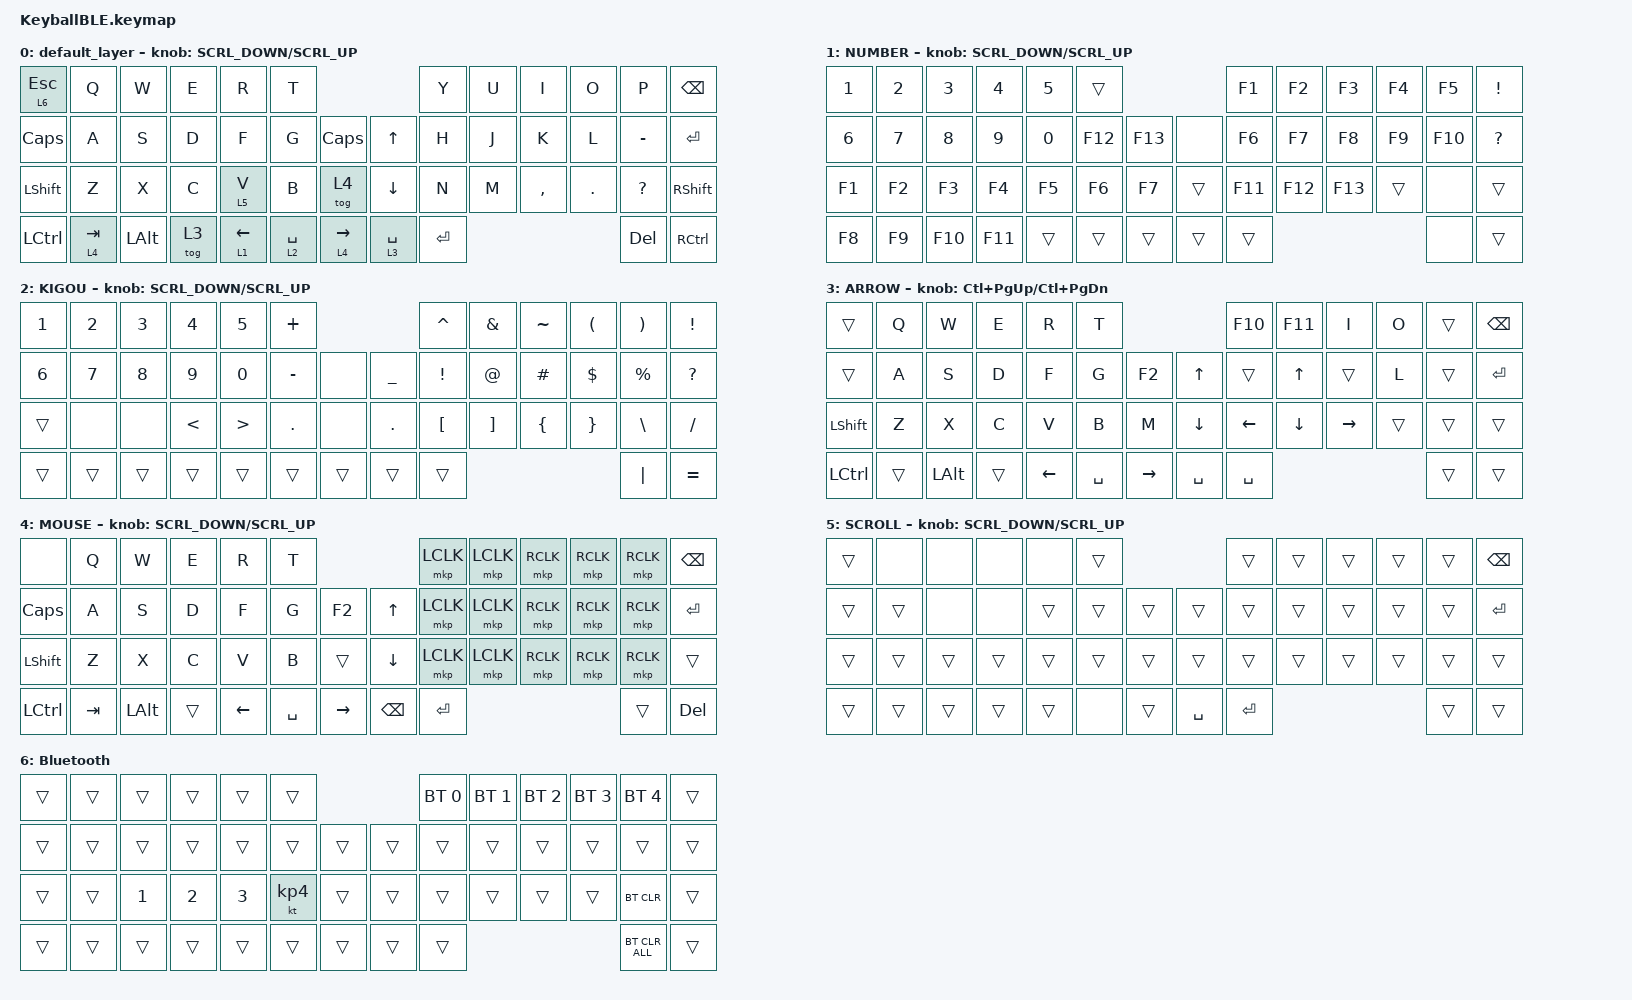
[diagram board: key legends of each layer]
#define ZMK_POINTING_DEFAULT_SCRL_VAL 120    // default: 10

#include <behaviors.dtsi>
#include <dt-bindings/zmk/bt.h>
#include <dt-bindings/zmk/keys.h>
#include <dt-bindings/zmk/pointing.h>

#define MOUSE 4
#define SCROLL 5
#define NUM 6

&mt {
    flavor = "balanced";
    quick-tap-ms = <0>;
};

/ {
    combos {
        compatible = "zmk,combos";

        double_quotation {
            bindings = <&kp DOUBLE_QUOTES>;
            key-positions = <20 21>;
        };
    };

    macros {
        to_layer_0: to_layer_0 {
            compatible = "zmk,behavior-macro-one-param";
            #binding-cells = <1>;
            bindings = <&to 0 &macro_param_1to1 &kp MACRO_PLACEHOLDER>;
            label = "TO_LAYER_0";
        };
    };

    behaviors {
        lt_to_layer_0: lt_to_layer_0 {
            compatible = "zmk,behavior-hold-tap";
            label = "LAYER_TAP_TO_0";
            bindings = <&mo>, <&to_layer_0>;

            #binding-cells = <2>;
            tapping-term-ms = <200>;
        };

        ROTATE: ROTATE {
            compatible = "zmk,behavior-sensor-rotate-var";
            label = "ROTATE";
            #sensor-binding-cells = <2>;
            bindings = <&msc>, <&msc>;

            tap-ms = <20>;
        };
    };

    keymap {
        compatible = "zmk,keymap";

        default_layer {
            bindings = <
&lt 6 ESC  &kp Q      &kp W     &kp E   &kp R             &kp T                                       &kp Y      &kp U  &kp I      &kp O    &kp P         &kp BSPC
&kp CAPS   &kp A      &kp S     &kp D   &kp F             &kp G        &kp CAPS       &kp UP_ARROW    &kp H      &kp J  &kp K      &kp L    &kp MINUS     &kp ENTER
&kp LSHFT  &kp Z      &kp X     &kp C   &lt 5 V           &kp B        &tog 4         &kp DOWN_ARROW  &kp N      &kp M  &kp COMMA  &kp DOT  &kp QUESTION  &kp RSHFT
&kp LCTRL  &lt 4 TAB  &kp LALT  &tog 3  &lt 1 LEFT_ARROW  &lt 2 SPACE  &lt 4 RIGHT    &lt 3 SPACE     &kp ENTER                             &kp DEL       &kp RCTRL
            >;

            sensor-bindings = <&ROTATE SCRL_DOWN SCRL_UP>;
        };

        NUMBER {
            bindings = <
&kp NUMBER_1  &kp NUMBER_2  &kp NUMBER_3  &kp NUMBER_4  &kp NUMBER_5  &trans                      &kp F1   &kp F2   &kp F3   &kp F4  &kp F5   &kp EXCL
&kp NUMBER_6  &kp NUMBER_7  &kp NUMBER_8  &kp NUMBER_9  &kp NUMBER_0  &kp F12  &kp F13    &none   &kp F6   &kp F7   &kp F8   &kp F9  &kp F10  &kp QUESTION
&kp F1        &kp F2        &kp F3        &kp F4        &kp F5        &kp F6   &kp F7     &trans  &kp F11  &kp F12  &kp F13  &trans  &none    &trans
&kp F8        &kp F9        &kp F10       &kp F11       &trans        &trans   &trans     &trans  &trans                             &none    &trans
            >;

            sensor-bindings = <&ROTATE SCRL_DOWN SCRL_UP>;
        };

        KIGOU {
            bindings = <
&kp NUMBER_1  &kp NUMBER_2  &kp NUMBER_3  &kp NUMBER_4  &kp NUMBER_5      &kp PLUS                              &kp CARET         &kp AMPERSAND      &kp TILDE       &kp LEFT_PARENTHESIS  &kp RIGHT_PARENTHESIS  &kp EXCLAMATION
&kp NUMBER_6  &kp NUMBER_7  &kp NUMBER_8  &kp NUMBER_9  &kp NUMBER_0      &kp MINUS   &none     &kp UNDERSCORE  &kp EXCLAMATION   &kp AT_SIGN        &kp HASH        &kp DOLLAR            &kp PERCENT            &kp QUESTION
&trans        &none         &none         &kp LT        &kp GREATER_THAN  &kp PERIOD  &none     &kp DOT         &kp LEFT_BRACKET  &kp RIGHT_BRACKET  &kp LEFT_BRACE  &kp RIGHT_BRACE       &kp BACKSLASH          &kp SLASH
&trans        &trans        &trans        &trans        &trans            &trans      &trans    &trans          &trans                                                                     &kp PIPE               &kp EQUAL
            >;

            sensor-bindings = <&ROTATE SCRL_DOWN SCRL_UP>;
        };

        ARROW {
            bindings = <
&trans            &kp Q   &kp W         &kp E   &kp R           &kp T                                         &kp F10    &kp F11         &kp I      &kp O   &trans  &kp BACKSPACE
&trans            &kp A   &kp S         &kp D   &kp F           &kp G      &kp F2             &kp UP_ARROW    &trans     &kp UP_ARROW    &trans     &kp L   &trans  &kp ENTER
&kp LEFT_SHIFT    &kp Z   &kp X         &kp C   &kp V           &kp B      &kp M              &kp DOWN_ARROW  &kp LEFT   &kp DOWN_ARROW  &kp RIGHT  &trans  &trans  &trans
&kp LEFT_CONTROL  &trans  &kp LEFT_ALT  &trans  &kp LEFT_ARROW  &kp SPACE  &kp RIGHT_ARROW    &kp SPACE       &kp SPACE                                     &trans  &trans
            >;

            sensor-bindings = <&inc_dec_kp LC(PAGE_UP) LC(PAGE_DOWN)>;
        };

        MOUSE {
            bindings = <
&none             &kp Q    &kp W         &kp E   &kp R           &kp T                                         &mkp LCLK  &mkp LCLK  &mkp RCLK  &mkp RCLK  &mkp RCLK  &kp BACKSPACE
&kp CAPS          &kp A    &kp S         &kp D   &kp F           &kp G      &kp F2             &kp UP_ARROW    &mkp LCLK  &mkp LCLK  &mkp RCLK  &mkp RCLK  &mkp RCLK  &kp ENTER
&kp LEFT_SHIFT    &kp Z    &kp X         &kp C   &kp V           &kp B      &trans             &kp DOWN_ARROW  &mkp LCLK  &mkp LCLK  &mkp RCLK  &mkp RCLK  &mkp RCLK  &trans
&kp LEFT_CONTROL  &kp TAB  &kp LEFT_ALT  &trans  &kp LEFT_ARROW  &kp SPACE  &kp RIGHT_ARROW    &kp BACKSPACE   &kp ENTER                                   &trans     &kp DELETE
            >;

            sensor-bindings = <&ROTATE SCRL_DOWN SCRL_UP>;
        };

        SCROLL {
            bindings = <
&trans  &none   &none   &none   &none   &trans                       &trans     &trans  &trans  &trans  &trans  &kp BACKSPACE
&trans  &trans  &none   &none   &trans  &trans  &trans    &trans     &trans     &trans  &trans  &trans  &trans  &kp ENTER
&trans  &trans  &trans  &trans  &trans  &trans  &trans    &trans     &trans     &trans  &trans  &trans  &trans  &trans
&trans  &trans  &trans  &trans  &trans  &none   &trans    &kp SPACE  &kp ENTER                          &trans  &trans
            >;

            sensor-bindings = <&ROTATE SCRL_DOWN SCRL_UP>;
        };

        Bluetooth {
            bindings = <
&trans  &trans  &trans        &trans        &trans        &trans                       &bt BT_SEL 0  &bt BT_SEL 1  &bt BT_SEL 2  &bt BT_SEL 3  &bt BT_SEL 4    &trans
&trans  &trans  &trans        &trans        &trans        &trans     &trans    &trans  &trans        &trans        &trans        &trans        &trans          &trans
&trans  &trans  &kp NUMBER_1  &kp NUMBER_2  &kp NUMBER_3  &kt KP_N4  &trans    &trans  &trans        &trans        &trans        &trans        &bt BT_CLR      &trans
&trans  &trans  &trans        &trans        &trans        &trans     &trans    &trans  &trans                                                  &bt BT_CLR_ALL  &trans
            >;
        };
    };
};
